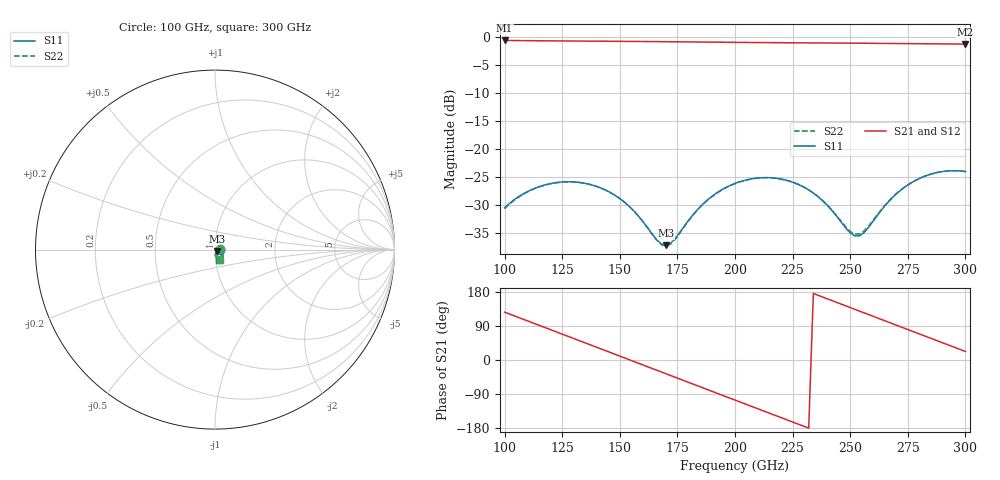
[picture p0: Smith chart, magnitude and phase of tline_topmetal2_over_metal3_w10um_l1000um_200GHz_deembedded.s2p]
! Created with skrf 2.2.0 (http://scikit-rf.org).
# GHz S DB R 50.0
! Port[1] = P1
! Port[2] = P2
!freq dBS11 angS11 dBS21 angS21 dBS12 angS12 dBS22 angS22
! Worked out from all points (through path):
!   101 points, 100 GHz to 300 GHz, reference 50 ohm
!   highest |S21| = -0.70 dB at 100 GHz (marker M1); lowest = -1.3 dB at 300 GHz (marker M2)
!   group delay of S21, straight-line fit = 6.44 ps
!   lowest |S11| = -37.2 dB at 170 GHz (marker M3), VSWR 1.03, Z = 51 - j0.992 ohm
!   |S11| at or under -10 dB: start of sweep to end of sweep
!   |S22| runs from -37.3 to -23.9 dB; largest |S21 - S12| = 1e-13
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100  -30.50 0.7  -0.70 126.3  -0.70 126.3  -30.64 1.8
108  -28.03 -8.8  -0.73 107.7  -0.73 107.7  -28.11 -8.1
116  -26.60 -21.0  -0.76 89.2  -0.76 89.2  -26.65 -20.5
124  -25.93 -34.3  -0.78 70.6  -0.78 70.6  -25.97 -33.8
134  -26.07 -51.2  -0.81 47.4  -0.81 47.4  -26.10 -50.9
144  -27.38 -67.0  -0.84 24.2  -0.84 24.2  -27.39 -66.8
152  -29.49 -76.8  -0.86 5.6  -0.86 5.6  -29.51 -76.8
160  -32.94 -78.9  -0.89 -13.0  -0.89 -13.0  -32.97 -79.1
168  -36.95 -56.1  -0.91 -31.5  -0.91 -31.5  -37.06 -56.4
170  -37.20 -44.8  -0.92 -36.2  -0.92 -36.2  -37.34 -44.9
186  -29.86 -12.5  -0.98 -73.3  -0.98 -73.3  -29.93 -11.9
200  -26.16 -29.6  -1.04 -105.8  -1.04 -105.8  -26.20 -29.0
208  -25.29 -42.4  -1.07 -124.3  -1.07 -124.3  -25.32 -41.7
218  -25.25 -59.0  -1.10 -147.4  -1.10 -147.4  -25.27 -58.2
226  -26.08 -71.7  -1.12 -165.9  -1.12 -165.9  -26.10 -70.7
234  -27.87 -82.2  -1.14 175.5  -1.14 175.5  -27.87 -81.0
242  -30.95 -86.2  -1.16 157.0  -1.16 157.0  -30.88 -84.7
252  -35.52 -59.1  -1.19 133.8  -1.19 133.8  -35.21 -58.2
256  -34.93 -37.8  -1.20 124.5  -1.20 124.5  -34.65 -38.0
268  -28.82 -20.9  -1.24 96.6  -1.24 96.6  -28.77 -21.2
282  -24.93 -37.4  -1.29 64.2  -1.29 64.2  -24.93 -37.2
300  -24.04 -66.8  -1.34 22.6  -1.34 22.6  -24.04 -66.0
